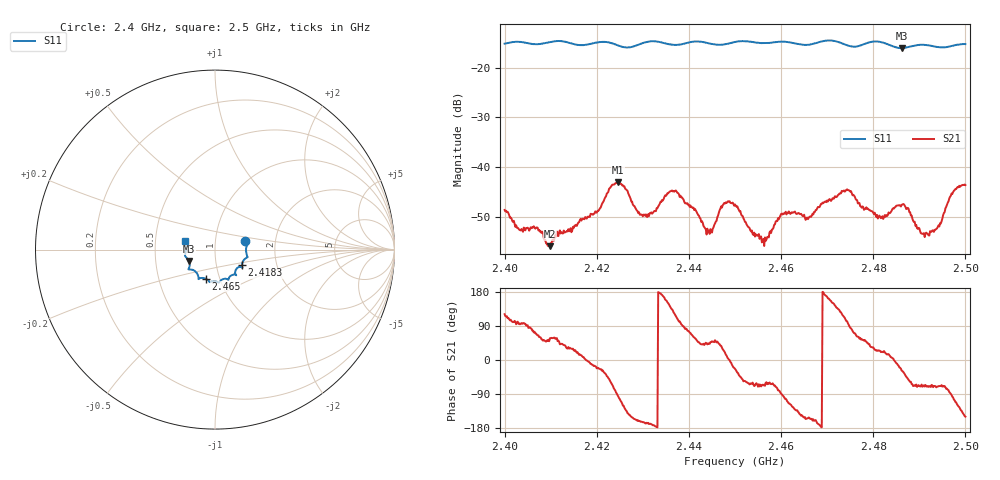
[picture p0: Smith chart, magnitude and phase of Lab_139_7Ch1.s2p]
# Hz S RI R 50
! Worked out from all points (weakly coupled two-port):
!   601 points, 2.4 GHz to 2.5 GHz, reference 50 ohm
!   highest |S21| = -43.10 dB at 2.4247 GHz (marker M1); lowest = -55.9 dB at 2.4098 GHz (marker M2)
!   lowest |S11| = -16.0 dB at 2.4862 GHz (marker M3), VSWR 1.38, Z = 37.1 - j4.83 ohm
!   |S11| at or under -10 dB: start of sweep to end of sweep
!   S12 and S22 are empty: the file has one direction only
!   S11 on the Smith chart (normalised r, x): 2.4 GHz: 1.40, +0.13; 2.4183 GHz: 1.33, -0.24; 2.465 GHz: 0.86, -0.29; 2.5 GHz: 0.71, +0.07
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2.4e9  0.169 0.0461  -0.0019 0.00318  0 0  0 0
2.409833e9  0.1784 -0.0339  0.000858 0.00135  0 0  0 0
2.416667e9  0.1549 -0.0681  0.00283 0.000622  0 0  0 0
2.418333e9  0.1501 -0.0866  0.00317 -0.000293  0 0  0 0
2.424667e9  0.1373 -0.0963  -0.000749 -0.00696  0 0  0 0
2.4295e9  0.1126 -0.1332  -0.00317 -0.00097  0 0  0 0
2.433333e9  0.1169 -0.141  -0.00401 5.67e-05  0 0  0 0
2.437167e9  0.0889 -0.1452  -0.00252 0.00525  0 0  0 0
2.444333e9  0.0662 -0.1637  0.00166 0.00153  0 0  0 0
2.4475e9  0.0392 -0.1671  0.00381 0.00185  0 0  0 0
2.45e9  0.0252 -0.1805  0.00387 -0.00167  0 0  0 0
2.456333e9  -0.00379 -0.1773  0.000678 -0.00146  0 0  0 0
2.4605e9  -0.0291 -0.1813  -0.000319 -0.0034  0 0  0 0
2.465e9  -0.0526 -0.1621  -0.00292 -0.00158  0 0  0 0
2.466667e9  -0.0713 -0.1578  -0.00296 -0.00136  0 0  0 0
2.474167e9  -0.0961 -0.1399  -0.00132 0.00575  0 0  0 0
2.483333e9  -0.1421 -0.0959  0.00337 0.000936  0 0  0 0
2.486167e9  -0.1446 -0.0635  0.00369 -0.00195  0 0  0 0
2.491667e9  -0.1669 -0.0296  0.000728 -0.00202  0 0  0 0
2.494333e9  -0.1611 -0.00419  0.000914 -0.00235  0 0  0 0
2.497333e9  -0.1647 0.0301  -0.00088 -0.00554  0 0  0 0
2.5e9  -0.167 0.0471  -0.00568 -0.00334  0 0  0 0
